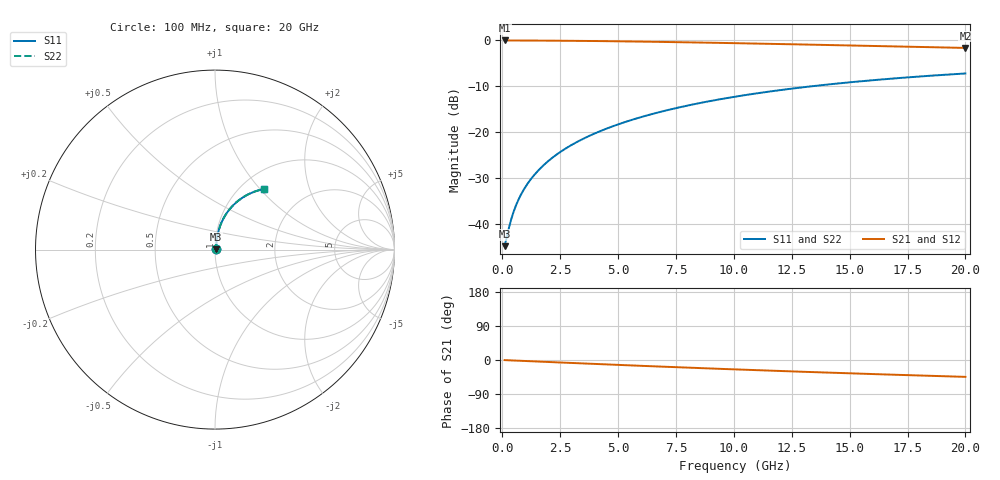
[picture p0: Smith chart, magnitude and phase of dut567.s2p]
! Touchstone file exported from HFSS 2024.1.0
!  File:  C:/UserFiles/LocalFiles/RDL_TSV_Batchsim/temp_RDL_top_567_1779681525.aedt
!  Generated:  12:01:15 PM May 25, 2026
!  Design:  RDL_top
!  Project:  temp_RDL_top_567_1779681525
!  Setup:  Setup1
!  Solution:  Sweep
! Variables:
!  dtsv = 10.80580581um
!  hbump = 3um
!  htsv = 65.57um
!  ldown = 100um
!  lrdl = 611.63um
!  p = 40
!  p1 = 46.32um
!  rhole = 1um
!  t = 450um
!  tdown = 3.915915916um
!  trdl = 2.53um
!  wdown = 15.38538539um
!  wrdl = 17.24um
# GHz S MA R 50.000000
! Terminal data exported
! Port[1] = Box2_T1
! Port[2] = Box2_T2
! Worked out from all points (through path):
!   200 points, 100 MHz to 20 GHz, reference 50 ohm
!   highest |S21| = -0.04 dB at 100 MHz (marker M1); lowest = -1.7 dB at 20 GHz (marker M2)
!   group delay of S21, straight-line fit = 6.17 ps
!   lowest |S11| = -44.8 dB at 100 MHz (marker M3), VSWR 1.01, Z = 50.5 + j0.263 ohm
!   |S11| at or under -10 dB: start of sweep to 13.38 GHz
!   |S22| runs from -44.8 to -7.2 dB; largest |S21 - S12| = 3.3e-15
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0.1  0.005765 26.8  0.9949 -0.3  0.9949 -0.3  0.005765 26.8
! Gamma 0 0 0 0
! Port Impedance 50 0 50 0
0.3  0.009424 54.9  0.9946 -0.8  0.9946 -0.8  0.009424 54.9
0.4  0.01164 61.2  0.9944 -1.1  0.9944 -1.1  0.01164 61.2
0.5  0.01391 65.3  0.9941 -1.4  0.9941 -1.4  0.01391 65.3
0.6  0.0162 68.2  0.9939 -1.6  0.9939 -1.6  0.0162 68.2
0.7  0.0185 70.3  0.9937 -1.9  0.9937 -1.9  0.0185 70.3
0.9  0.02311 73.3  0.9932 -2.4  0.9932 -2.4  0.02311 73.3
1.2  0.03007 76.1  0.9925 -3.2  0.9925 -3.2  0.03007 76.1
1.4  0.03475 77.3  0.992 -3.7  0.992 -3.7  0.03475 77.3
1.7  0.0418 78.5  0.9912 -4.5  0.9912 -4.5  0.0418 78.5
2.2  0.05367 79.6  0.9895 -5.8  0.9895 -5.8  0.05367 79.6
2.8  0.06805 80.0  0.987 -7.4  0.987 -7.4  0.06806 80.1
3.5  0.08498 79.9  0.9836 -9.2  0.9836 -9.2  0.08499 79.9
4.2  0.102 79.4  0.9795 -10.9  0.9795 -10.9  0.1021 79.4
5  0.1216 78.5  0.9742 -12.9  0.9742 -12.9  0.1217 78.5
5.9  0.1437 77.2  0.9675 -15.1  0.9675 -15.1  0.1438 77.3
6.8  0.1658 75.8  0.9602 -17.3  0.9602 -17.3  0.1658 75.8
8.4  0.2045 72.9  0.9458 -21.1  0.9458 -21.1  0.2046 73.0
10.1  0.2444 69.6  0.9293 -24.9  0.9293 -24.9  0.2446 69.7
13.4  0.3167 63.1  0.895 -31.9  0.895 -31.9  0.317 63.2
16.7  0.3805 56.8  0.8598 -38.5  0.8598 -38.5  0.3808 56.8
20  0.4353 50.8  0.8252 -44.5  0.8252 -44.5  0.4357 50.8
